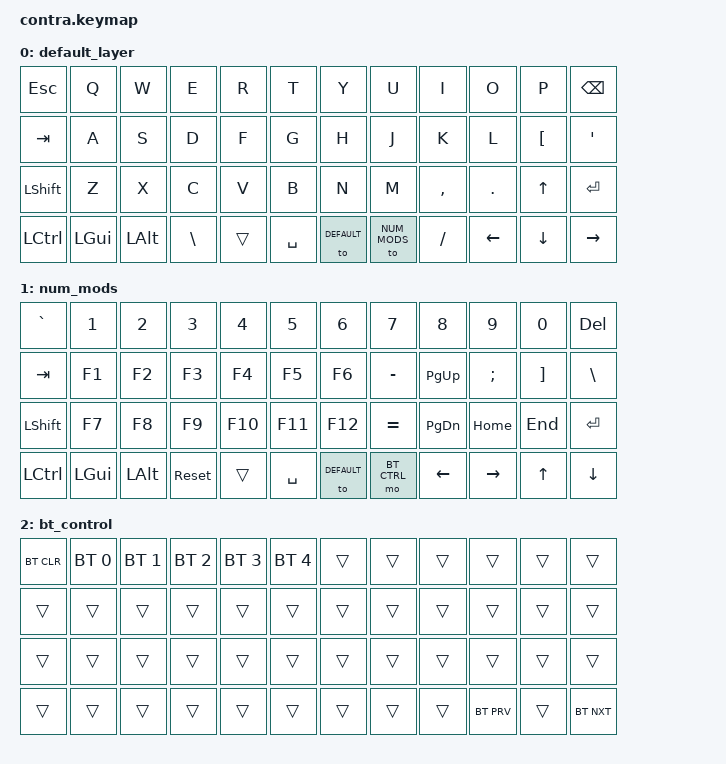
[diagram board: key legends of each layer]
/*
 * Copyright (c) 2021 The ZMK Contributors
 *
 * SPDX-License-Identifier: MIT
 */

#include <behaviors.dtsi>
#include <dt-bindings/zmk/keys.h>
#include <dt-bindings/zmk/bt.h>

#define DEFAULT  0
#define NUM_MODS 1
#define BT_CTRL  2

/ {
    keymap {
        compatible = "zmk,keymap";

        default_layer {
            bindings = <
    &kp ESC   &kp Q     &kp W    &kp E     &kp R       &kp T      &kp Y     &kp U        &kp I     &kp O     &kp P    &kp BSPC
    &kp TAB   &kp A     &kp S    &kp D     &kp F       &kp G      &kp H     &kp J        &kp K     &kp L     &kp LBKT    &kp SQT
    &kp LSHFT &kp Z     &kp X    &kp C     &kp V       &kp B      &kp N     &kp M        &kp COMMA &kp DOT   &kp UP    &kp ENTER
    &kp LCTRL &kp LGUI  &kp LALT &kp BSLH  &trans &kp SPACE  &to DEFAULT    &to NUM_MODS &kp FSLH  &kp LEFT  &kp DOWN    &kp RIGHT
            >;
        };

        num_mods {
            bindings = <
    &kp GRAVE &kp N1    &kp N2   &kp N3   &kp N4      &kp N5     &kp N6    &kp N7      &kp N8    &kp N9    &kp N0   &kp DEL
    &kp TAB   &kp F1    &kp F2   &kp F3   &kp F4      &kp F5     &kp F6    &kp MINUS   &kp PG_UP &kp SEMI  &kp RBKT &kp BSLH
    &kp LSHFT &kp F7   &kp F8   &kp F9   &kp F10     &kp F11    &kp F12   &kp EQUAL   &kp PG_DN &kp HOME  &kp END  &kp ENTER
    &kp LCTRL &kp LGUI  &kp LALT &sys_reset   &trans  &kp SPACE  &to DEFAULT   &mo BT_CTRL   &kp LEFT   &kp RIGHT &kp UP   &kp DOWN
            >;
        };

        bt_control {
            bindings = <
    &bt BT_CLR &bt BT_SEL 0 &bt BT_SEL 1 &bt BT_SEL 2 &bt BT_SEL 3 &bt BT_SEL 4 &trans    &trans    &trans     &trans     &trans   &trans
    &trans     &trans       &trans       &trans       &trans       &trans       &trans    &trans    &trans     &trans     &trans   &trans
    &trans     &trans       &trans       &trans       &trans       &trans       &trans    &trans    &trans     &trans     &trans   &trans
    &trans     &trans       &trans       &trans       &trans       &trans       &trans    &trans    &trans   &bt BT_PRV    &trans   &bt BT_NXT 
            >;
        };
    };
};
